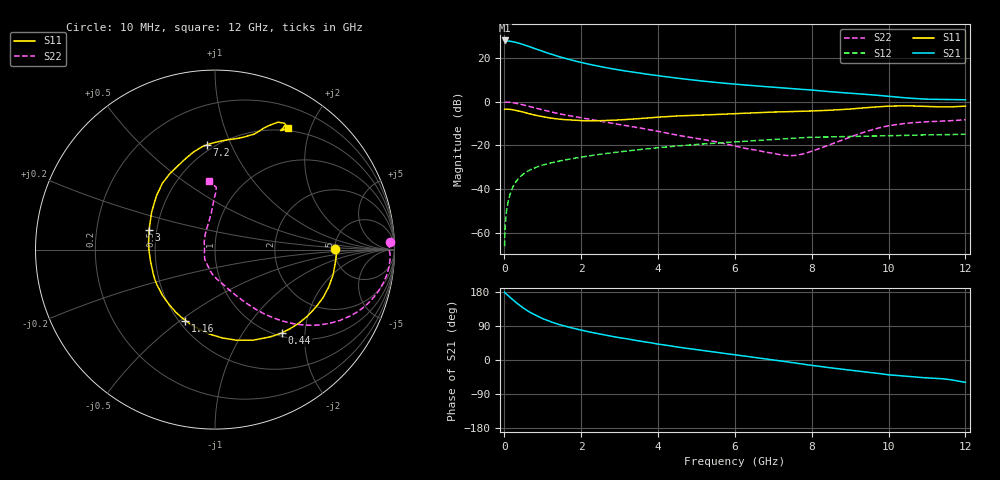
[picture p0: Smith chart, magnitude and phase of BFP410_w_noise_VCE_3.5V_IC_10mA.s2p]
! Infineon Technologies  Discrete & RF Semiconductors
! BFP410
! VCE =  3.5 V,  IC =  10 mA
! Common Emitter S-Parameters:  Nov 2015
# GHz  S  MA  R  50
!  f  S11  S21  S12  S22
! GHz  MAG  ANG  MAG  ANG  MAG  ANG  MAG  ANG
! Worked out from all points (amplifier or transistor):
!   243 points, 10 MHz to 12 GHz, reference 50 ohm
!   highest |S21| = 28.0 dB at 10 MHz (marker M1)
!   |S21| within 3 dB of that: start of sweep to 681.7 MHz
!   unconditionally stable (mu >= 1): 2.447 GHz to end of sweep
!   at 240 MHz: K = 0.19, MSG = 32.9 dB, |S12| = -38.5 dB
!   at 1.84 GHz: K = 0.84, MSG = 22.2 dB, |S12| = -25.8 dB
!   at 12 GHz: K = 1.04, MAG = 6.7 dB, |S12| = -14.9 dB
!   lowest NFmin = 1.28 dB at 900 MHz
!   S11 on the Smith chart (normalised r, x): 10 MHz: 5.02, +0.11; 440 MHz: 1.06, -1.52; 1.16 GHz: 0.54, -0.52; 3 GHz: 0.45, +0.12; 7.2 GHz: 0.46, +0.81; 12 GHz: 0.46, +1.67
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0.01  0.6681 0.5  25.06 179.0  0.0005 110.6  0.9735 2.4
0.02  0.6786 -1.5  24.81 177.3  0.0012 75.4  0.9705 -0.1
0.07  0.6732 -8.1  24.44 172.7  0.0037 80.0  0.9767 -3.6
0.15  0.6669 -18.2  24.05 165.5  0.0076 79.3  0.9672 -8.5
0.24  0.6484 -28.9  23.21 157.5  0.0119 75.8  0.9433 -13.6
0.34  0.6227 -40.5  22.18 149.2  0.0163 71.8  0.9081 -18.8
0.44  0.5943 -51.2  20.92 141.5  0.0202 68.1  0.8682 -23.4
0.6  0.5469 -67.4  18.79 130.1  0.0255 63.2  0.7997 -29.6
0.8  0.4941 -85.2  16.28 118.8  0.031 58.7  0.719 -35.7
1  0.4522 -101.3  14.13 109.3  0.0356 55.5  0.6474 -40.4
1.16  0.4279 -112.6  12.68 103.0  0.0388 53.6  0.5992 -43.5
1.3  0.4118 -121.9  11.58 97.9  0.0415 52.3  0.5619 -45.7
1.52  0.3921 -134.6  10.13 91.1  0.0455 50.8  0.5122 -48.7
2.02  0.3691 -159.1  7.807 78.5  0.0544 47.9  0.427 -54.0
2.44  0.3666 -177.3  6.506 69.4  0.0619 45.5  0.3674 -58.0
3  0.3839 163.1  5.283 58.9  0.0715 42.2  0.3008 -63.4
4.1  0.4479 135.5  3.823 40.7  0.0905 35.1  0.2023 -76.2
6.1  0.5369 106.9  2.473 12.4  0.1221 20.3  0.0922 -118.9
7.2  0.5848 94.5  2.08 -2.6  0.1412 11.3  0.0611 -163.9
8.2  0.6226 81.2  1.776 -16.7  0.1551 0.9  0.0849 132.6
10.2  0.7973 62.4  1.279 -40.7  0.1675 -14.7  0.2995 90.1
12  0.7902 59.0  1.106 -58.9  0.1803 -30.0  0.3863 95.2
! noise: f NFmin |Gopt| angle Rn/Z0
0.45  1.31  0.05  -19  0.16
0.9  1.28  0.04  1  0.16
1.8  1.42  0.03  -159  0.16
2.4  1.4  0.09  -121  0.17
5.5  2.27  0.35  -113  0.27
10  3.42  0.67  -49  1.87
